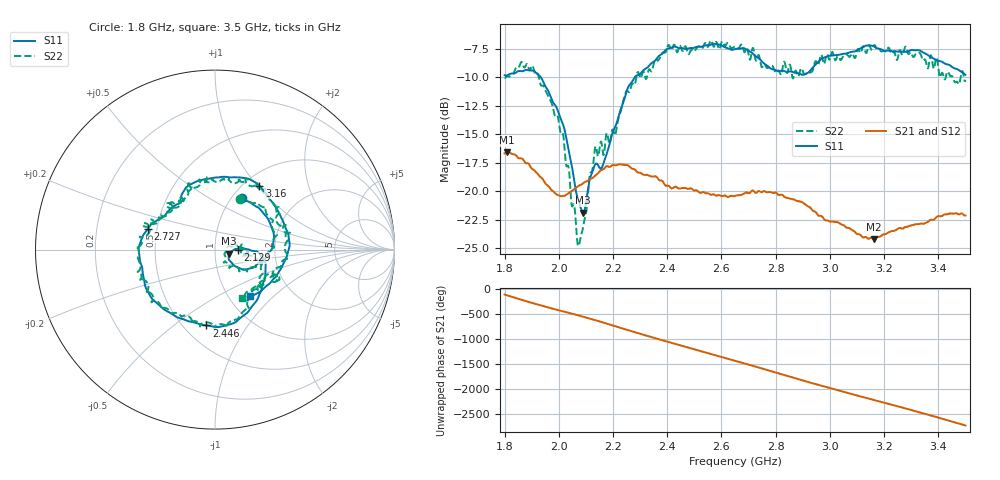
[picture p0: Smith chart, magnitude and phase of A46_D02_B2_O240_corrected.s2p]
! Created with skrf 1.9.0 (http://scikit-rf.org).
# Hz S RI R 50.0
!freq ReS11 ImS11 ReS21 ImS21 ReS12 ImS12 ReS22 ImS22
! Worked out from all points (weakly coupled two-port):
!   1601 points, 1.8 GHz to 3.5 GHz, reference 50 ohm
!   highest |S21| = -16.59 dB at 1.81 GHz (marker M1); lowest = -24.2 dB at 3.162 GHz (marker M2)
!   lowest |S11| = -21.9 dB at 2.09 GHz (marker M3), VSWR 1.18, Z = 58.3 - j2.62 ohm
!   |S11| at or under -10 dB: 1.934 GHz to 2.28 GHz (345.7 MHz wide, 16.4 % of centre)
!   |S22| runs from -24.8 to -6.8 dB; largest |S21 - S12| = 0.0025
!   S11 on the Smith chart (normalised r, x): 1.8 GHz: 1.11, +0.71; 2.129 GHz: 1.29, -0.01; 2.446 GHz: 0.64, -0.66; 2.727 GHz: 0.45, +0.12; 3.16 GHz: 1.17, +1.03; 3.5 GHz: 1.25, -0.73
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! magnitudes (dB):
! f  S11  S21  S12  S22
! 1.8 GHz  -9.8  -16.7  -16.7  -10.1
! 1.81 GHz  -9.8  -16.6  -16.6  -9.9
! 1.902 GHz  -9.4  -18.0  -18.0  -9.0
! 1.966 GHz  -11.5  -19.6  -19.7  -11.9
! 2.014 GHz  -14.0  -20.4  -20.4  -14.8
! 2.071 GHz  -20.7  -19.6  -19.6  -24.8
! 2.084 GHz  -21.6  -19.4  -19.4  -23.7
! 2.09 GHz  -21.9  -19.3  -19.3  -23.1
! 2.129 GHz  -17.9  -18.7  -18.7  -17.0
! 2.163 GHz  -17.6  -18.1  -18.0  -16.7
! 2.21 GHz  -14.2  -17.7  -17.7  -14.9
! 2.26 GHz  -10.7  -17.8  -17.8  -11.3
! 2.367 GHz  -8.2  -18.9  -18.9  -8.5
! 2.446 GHz  -7.4  -19.8  -19.7  -7.2
! 2.65 GHz  -7.5  -20.4  -20.4  -7.3
! 2.727 GHz  -8.1  -20.1  -20.1  -8.5
! 2.813 GHz  -9.5  -20.3  -20.2  -9.4
! 2.934 GHz  -9.2  -21.6  -21.6  -9.5
! 3.16 GHz  -7.2  -24.2  -24.1  -7.3
! 3.162 GHz  -7.3  -24.2  -24.1  -7.2
! 3.217 GHz  -7.6  -23.6  -23.6  -7.4
! 3.5 GHz  -9.8  -22.1  -22.1  -10.2
